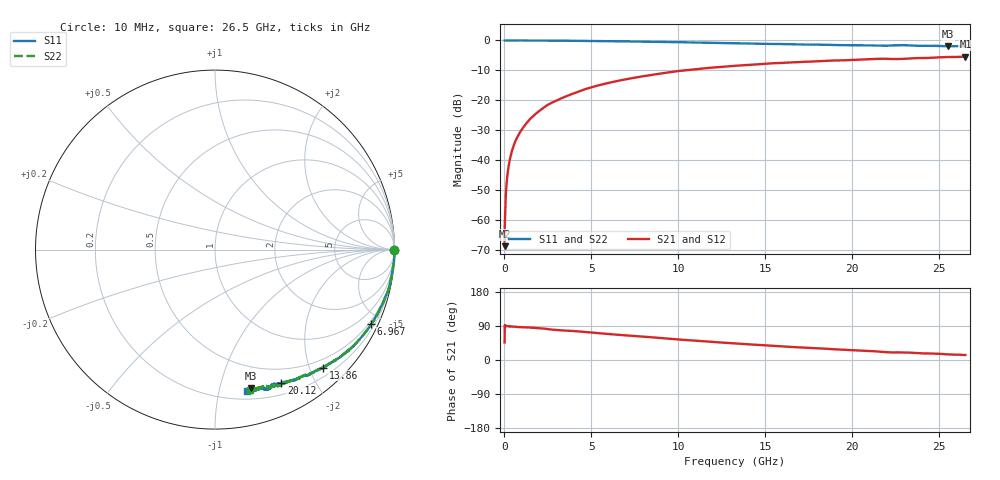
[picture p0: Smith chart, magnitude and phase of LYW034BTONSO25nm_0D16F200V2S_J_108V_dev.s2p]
!Keysight Technologies,N5222B,MY61253708,A.15.00.15
!Date: Wednesday, June 19, 2024 09:42:17
!Correction: S11(C  2-Port  )
!S21(C  2-Port  )
!S12(C  2-Port  )
!S22(C  2-Port  )
!S2P File: Measurements: S11, S21, S12, S22:
# Hz S  RI  R 50
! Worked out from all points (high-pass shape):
!   2651 points, 10 MHz to 26.5 GHz, reference 50 ohm
!   highest |S21| = -5.38 dB at 26.5 GHz (marker M1); lowest = -68.7 dB at 10 MHz (marker M2)
!   |S21| within 3 dB of the highest: 13.45 GHz to end of sweep
!   lowest |S11| = -2.0 dB at 25.5 GHz (marker M3), VSWR 8.82, Z = 14.8 - j62.4 ohm
!   |S11| at or under -10 dB: nowhere
!   |S22| runs from -1.9 to 0.0 dB; largest |S21 - S12| = 0.0066
!   S11 on the Smith chart (normalised r, x): 10 MHz: open; 6.967 GHz: 0.37, -4.38; 13.86 GHz: 0.35, -2.23; 20.12 GHz: 0.33, -1.57; 26.5 GHz: 0.27, -1.22
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1e7  0.9989 -0.00277  0.000254 0.000266  -6.69e-05 0.000413  0.999 -0.00129
7.997358e7  0.9999 -0.00572  -4.01e-06 0.00261  -6.19e-06 0.00267  0.9994 -0.00522
1.599434e8  1 -0.0115  5.94e-05 0.00529  5.3e-05 0.00534  0.9996 -0.0106
2.099245e8  0.9997 -0.0143  0.000127 0.00695  9.88e-05 0.00701  0.9994 -0.0136
2.699019e8  0.9997 -0.0186  0.000139 0.00894  0.000198 0.00899  0.9999 -0.0176
3.698642e8  0.9996 -0.0256  0.000315 0.0122  0.000291 0.0123  0.9995 -0.0245
5.098113e8  0.9991 -0.0343  0.000583 0.0168  0.000582 0.017  0.9991 -0.0332
6.697509e8  0.9984 -0.0446  0.000946 0.0221  0.000912 0.0223  0.9987 -0.0435
8.596792e8  0.9981 -0.0574  0.00156 0.0282  0.00157 0.0285  0.9976 -0.0566
1.459453e9  0.9907 -0.0985  0.00361 0.0482  0.00365 0.0485  0.9931 -0.0939
2.349117e9  0.9818 -0.1533  0.0102 0.0784  0.0105 0.079  0.9832 -0.1526
3.208792e9  0.9704 -0.2082  0.0211 0.104  0.0214 0.1048  0.971 -0.2062
4.428332e9  0.9423 -0.2812  0.0385 0.1416  0.0389 0.1425  0.9445 -0.2772
6.967374e9  0.87 -0.4164  0.0949 0.2033  0.0962 0.2041  0.8714 -0.4156
8.846664e9  0.8019 -0.5031  0.1452 0.2368  0.1469 0.2375  0.805 -0.4997
1.3255e10  0.6253 -0.643  0.2726 0.261  0.2751 0.2606  0.6316 -0.6399
1.386477e10  0.6019 -0.6573  0.2882 0.259  0.2911 0.2581  0.6055 -0.6546
1.767333e10  0.4529 -0.7216  0.3788 0.233  0.3824 0.2311  0.4667 -0.7183
2.012241e10  0.3696 -0.7412  0.4269 0.2067  0.4304 0.2044  0.3882 -0.7419
2.209166e10  0.3175 -0.7538  0.4615 0.171  0.4634 0.1677  0.3154 -0.76
2.550038e10  0.1988 -0.7712  0.5106 0.1343  0.5121 0.1336  0.2227 -0.7746
2.65e10  0.1795 -0.7853  0.524 0.1231  0.5235 0.1189  0.1961 -0.7843
